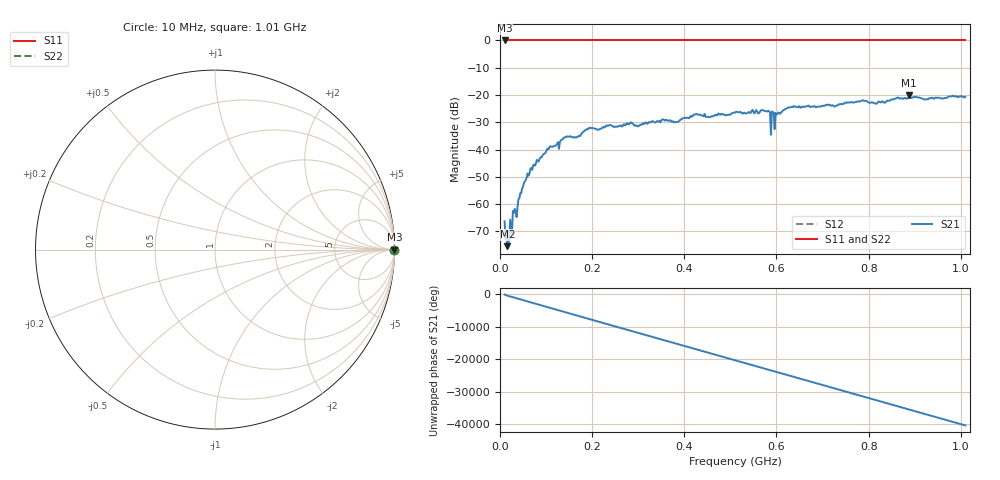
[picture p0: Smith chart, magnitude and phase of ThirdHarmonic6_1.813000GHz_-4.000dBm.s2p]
! 8/16/2025 9:57:38 PM
! C:\ANRITSUVNA\TEMP\TEMP.S2P
! CHANNEL.1
! TR.MEASUREMENT
! RAW.DATA
! RF.CORRECTION.OFF
! AVERAGING.OFF
! IF.BANDWIDTH: 5KHZ
! SWEEPTYPE:  FREQ.SWEEP(Linear)
! Reference Plane Port Info
! PORT:  PORT1  PORT2
! DISTANCE:  0  m  0  m
! TIME:  0  s  0  s
! PHASE.OFFSET:  0  deg.  0  deg.
! LOSS:  0  dB  0  dB
! REF.LOSS:  0  dB  0  dB
! REF.FREQ:  0  Hz  0  Hz
! Power Info
! POWER:  -20  dBm  -20  dBm
! EFF.POWER:  -20  dBm  -20  dBm
! SOURCE.ATTEN:  0  dB  0  dB
! TEST.ATTEN:  0  dB  0  dB
# GHZ S RI R 50.0
! FREQ.GHZ  S11RE  S11IM  S21RE  S21IM  S12RE  S12IM  S22RE  S22IM
!; PortSelection: Port_12
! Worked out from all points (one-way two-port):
!   501 points, 10 MHz to 1.01 GHz, reference 50 ohm
!   highest |S21| = -19.94 dB at 888 MHz (marker M1); lowest = -75.4 dB at 16 MHz (marker M2)
!   lowest |S11| = 0.0 dB at 10 MHz (marker M3)
!   |S11| at or under -10 dB: nowhere
!   |S22| runs from 0.0 to 0.0 dB; largest |S21 - S12| = 1.1
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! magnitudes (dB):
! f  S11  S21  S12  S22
! 10 MHz  0.0  -66.3  0.0  0.0
! 16 MHz  0.0  -75.4  0.0  0.0
! 22 MHz  0.0  -65.7  0.0  0.0
! 26 MHz  0.0  -70.8  0.0  0.0
! 38 MHz  0.0  -61.0  0.0  0.0
! 48 MHz  0.0  -54.2  0.0  0.0
! 70 MHz  0.0  -47.5  0.0  0.0
! 106 MHz  0.0  -39.8  0.0  0.0
! 142 MHz  0.0  -35.6  0.0  0.0
! 178 MHz  0.0  -33.9  0.0  0.0
! 196 MHz  0.0  -32.1  0.0  0.0
! 344 MHz  0.0  -29.7  0.0  0.0
! 382 MHz  0.0  -29.9  0.0  0.0
! 510 MHz  0.0  -26.4  0.0  0.0
! 580 MHz  0.0  -26.1  0.0  0.0
! 592 MHz  0.0  -26.3  0.0  0.0
! 594 MHz  0.0  -26.4  0.0  0.0
! 626 MHz  0.0  -24.5  0.0  0.0
! 678 MHz  0.0  -24.2  0.0  0.0
! 844 MHz  0.0  -22.1  0.0  0.0
! 888 MHz  0.0  -19.9  0.0  0.0
! 1.01 GHz  0.0  -20.7  0.0  0.0
